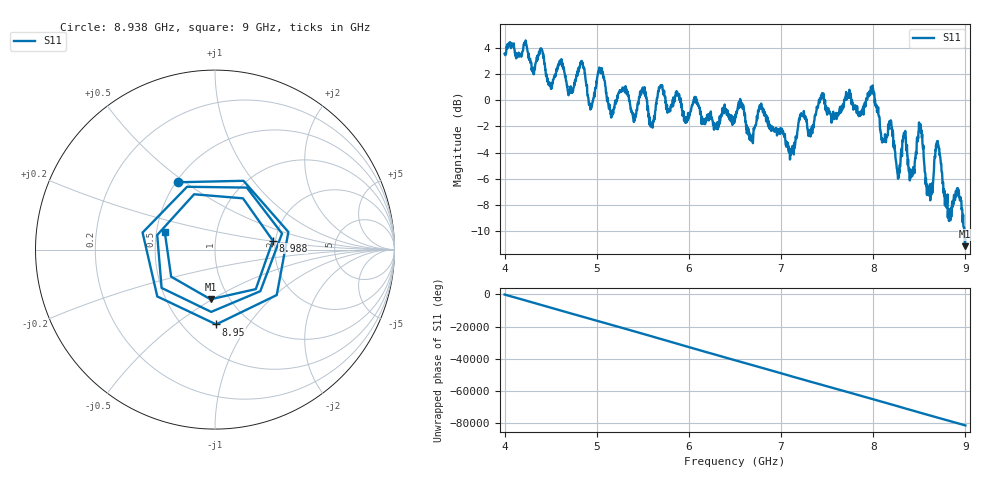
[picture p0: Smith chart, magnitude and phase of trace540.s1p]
! Created with skrf 1.8.0 (http://scikit-rf.org).
# Hz S RI R 50.0
!freq ReS11 ImS11
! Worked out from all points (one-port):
!   1601 points, 4 GHz to 9 GHz, reference 50 ohm
!   lowest |S11| = -11.1 dB at 8.994 GHz (marker M1), VSWR 1.77, Z = 40.9 - j24.6 ohm
!   |S11| at or under -10 dB: 8.991013 GHz to end of sweep
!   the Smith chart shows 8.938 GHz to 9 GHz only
!   S11 on the Smith chart (normalised r, x): 8.938 GHz: 0.51, +0.47; 8.95 GHz: 0.71, -0.72; 8.988 GHz: 1.94, +0.22; 9 GHz: 0.55, +0.12
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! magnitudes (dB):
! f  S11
! 4 GHz  3.5
! 4.625 GHz  2.6
! 4.712 GHz  1.0
! 4.844 GHz  2.9
! 4.934 GHz  -0.7
! 5.038 GHz  2.2
! 5.153 GHz  -1.0
! 5.25 GHz  0.8
! 5.509 GHz  0.6
! 5.594 GHz  -1.8
! 5.688 GHz  1.0
! 5.875 GHz  0.6
! 6.5 GHz  -1.5
! 7.125 GHz  -3.5
! 7.438 GHz  0.1
! 7.75 GHz  0.3
! 7.988 GHz  0.9
! 8.266 GHz  -5.7
! 8.375 GHz  -4.9
! 8.509 GHz  -1.9
! 8.594 GHz  -6.9
! 8.7 GHz  -3.1
! 8.822 GHz  -9.2
! 8.938 GHz  -7.4
! 8.95 GHz  -7.6
! 8.988 GHz  -9.7
! 8.994 GHz  -11.1
! 9 GHz  -10.5
